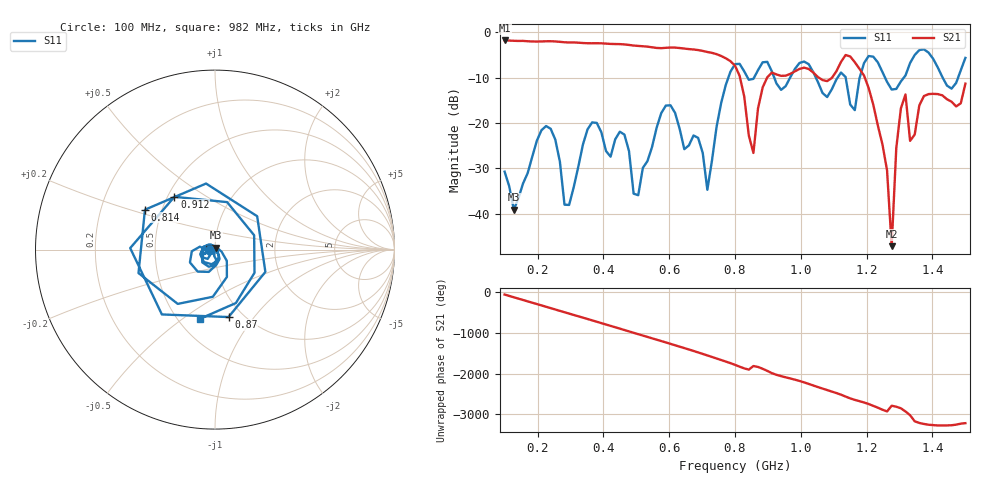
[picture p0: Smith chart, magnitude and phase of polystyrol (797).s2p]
! NanoVNA-App
! Date: 2025-09-25 15:36:05
! Start: 100MHz Stop: 1,5GHz Points: 101
! S-Parameter data: F S11 S21 S12 S22
# Hz S RI R 50
!  Frequency  S11_Real  S11_Imag  S21_Real  S21_Imag  S12_Real  S12_Imag  S22_Real  S22_Imag
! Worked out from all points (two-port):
!   101 points, 100 MHz to 1.5 GHz, reference 50 ohm
!   highest |S21| = -1.80 dB at 100 MHz (marker M1); lowest = -47.1 dB at 1.276 GHz (marker M2)
!   |S21| within 3 dB of the highest: start of sweep to 743.1 MHz
!   lowest |S11| = -39.1 dB at 128 MHz (marker M3), VSWR 1.02, Z = 50.3 + j1.06 ohm
!   |S11| at or under -10 dB: start of sweep to 779.7 MHz; 1.046 GHz to 1.112 GHz (65.99 MHz wide, 6.12 % of centre); 1.256 GHz to 1.313 GHz (56.83 MHz wide, 4.42 % of centre) (the widest 3 of 7)
!   S12 and S22 are empty: the file has one direction only
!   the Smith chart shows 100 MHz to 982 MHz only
!   S11 on the Smith chart (normalised r, x): 100 MHz: 0.94, -0.01; 814 MHz: 0.40, +0.22; 870 MHz: 0.86, -0.75; 912 MHz: 0.54, +0.37; 982 MHz: 0.64, -0.58
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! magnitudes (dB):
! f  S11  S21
! 100 MHz  -30.7  -1.8
! 128 MHz  -39.1  -1.9
! 212 MHz  -21.6  -2.0
! 282 MHz  -38.0  -2.2
! 338 MHz  -24.7  -2.4
! 464 MHz  -22.5  -2.7
! 506 MHz  -35.9  -3.0
! 576 MHz  -17.8  -3.5
! 716 MHz  -34.7  -4.3
! 800 MHz  -7.0  -7.3
! 814 MHz  -7.0  -9.6
! 856 MHz  -10.3  -26.6
! 870 MHz  -8.3  -16.7
! 912 MHz  -8.6  -8.9
! 982 MHz  -8.1  -8.6
! 1.038 GHz  -8.8  -8.9
! 1.192 GHz  -6.8  -9.5
! 1.262 GHz  -10.9  -30.4
! 1.276 GHz  -12.6  -47.1
! 1.29 GHz  -12.5  -25.5
! 1.318 GHz  -9.5  -13.7
! 1.5 GHz  -5.6  -11.3
